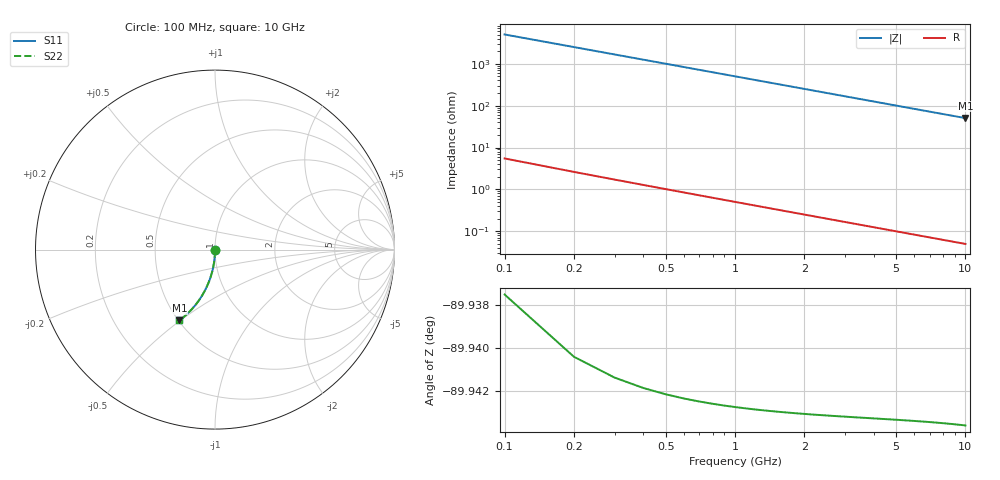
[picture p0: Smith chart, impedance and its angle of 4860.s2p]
# Hz S RI R 50.00
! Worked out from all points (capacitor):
!   100 points, 100 MHz to 10 GHz, reference 50 ohm
!   read as one part in shunt: C = 317 fF near 100 MHz
!   lowest |Z| = 50.4 ohm at 10 GHz (marker M1)
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1e8  -1.31e-05 -0.00494  1 -0.00502  1 -0.00502  -1.31e-05 -0.00494
2e8  -9.22e-05 -0.00988  0.9999 -0.01  0.9999 -0.01  -9.22e-05 -0.00988
3e8  -0.000221 -0.0148  0.9997 -0.015  0.9997 -0.015  -0.000221 -0.0148
4e8  -0.000399 -0.0198  0.9996 -0.0201  0.9996 -0.0201  -0.000399 -0.0198
5e8  -0.000627 -0.0247  0.9993 -0.0251  0.9993 -0.0251  -0.000627 -0.0247
6e8  -0.000904 -0.0296  0.9991 -0.0301  0.9991 -0.0301  -0.000904 -0.0296
7e8  -0.00123 -0.0345  0.9987 -0.0351  0.9987 -0.0351  -0.00123 -0.0345
8e8  -0.00161 -0.0395  0.9984 -0.0401  0.9984 -0.0401  -0.00161 -0.0395
9e8  -0.00203 -0.0444  0.9979 -0.045  0.9979 -0.045  -0.00203 -0.0444
1.1e9  -0.00303 -0.0542  0.9969 -0.055  0.9969 -0.055  -0.00303 -0.0542
1.4e9  -0.00488 -0.0688  0.9951 -0.0699  0.9951 -0.0699  -0.00488 -0.0688
1.8e9  -0.00803 -0.0882  0.9919 -0.0895  0.9919 -0.0895  -0.00803 -0.0882
2.1e9  -0.0109 -0.1026  0.9891 -0.1042  0.9891 -0.1042  -0.0109 -0.1026
2.5e9  -0.0153 -0.1216  0.9846 -0.1234  0.9846 -0.1234  -0.0153 -0.1216
2.9e9  -0.0205 -0.1402  0.9794 -0.1424  0.9794 -0.1424  -0.0205 -0.1402
3.4e9  -0.028 -0.1631  0.972 -0.1657  0.972 -0.1657  -0.028 -0.1631
4.2e9  -0.042 -0.1985  0.958 -0.2017  0.958 -0.2017  -0.042 -0.1985
5.1e9  -0.0606 -0.2363  0.9393 -0.2401  0.9393 -0.2401  -0.0606 -0.2363
5.9e9  -0.0795 -0.2678  0.9205 -0.2722  0.9205 -0.2722  -0.0795 -0.2678
6.7e9  -0.1001 -0.2971  0.8999 -0.3022  0.8999 -0.3022  -0.1001 -0.2971
8.4e9  -0.1486 -0.352  0.8513 -0.3584  0.8513 -0.3584  -0.1486 -0.352
1e10  -0.1981 -0.3943  0.8018 -0.4019  0.8018 -0.4019  -0.1981 -0.3943
